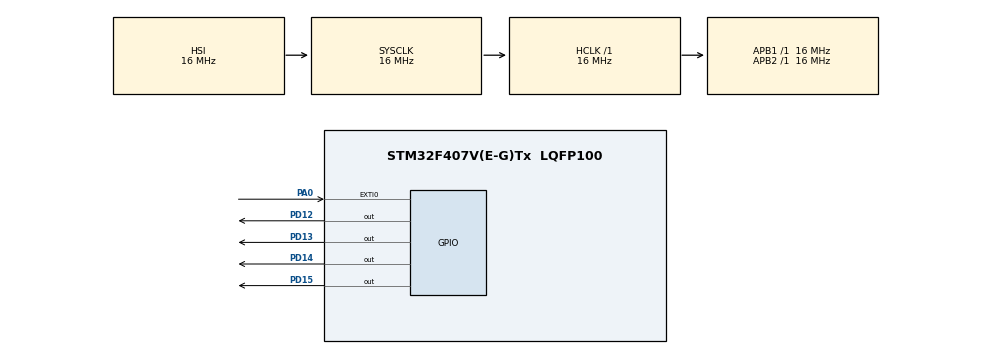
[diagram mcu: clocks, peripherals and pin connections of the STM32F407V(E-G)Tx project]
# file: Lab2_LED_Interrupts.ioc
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Mcu.Family=STM32F4
Mcu.Name=STM32F407V(E-G)Tx
Mcu.Package=LQFP100
NVIC.EXTI0_IRQn=true\:0\:0\:false\:false\:true\:true\:true\:true
NVIC.PriorityGroup=NVIC_PRIORITYGROUP_4
PA0-WKUP.Signal=GPXTI0
PA13.Mode=Serial_Wire
PA13.Signal=SYS_JTMS-SWDIO
PA14.Mode=Serial_Wire
PA14.Signal=SYS_JTCK-SWCLK
PD12.Signal=GPIO_Output
PD13.Signal=GPIO_Output
PD14.Signal=GPIO_Output
PD15.Signal=GPIO_Output
ProjectManager.HeapSize=0x200
ProjectManager.StackSize=0x400
ProjectManager.TargetToolchain=STM32CubeIDE
RCC.AHBFreq_Value=16000000
RCC.APB1Freq_Value=16000000
RCC.APB2Freq_Value=16000000
RCC.CortexFreq_Value=16000000
RCC.HSE_VALUE=25000000
RCC.HSI_VALUE=16000000
RCC.LSE_VALUE=32768
RCC.SYSCLKFreq_VALUE=16000000
RCC.VCOOutputFreq_Value=192000000
board=custom

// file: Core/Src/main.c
/* USER CODE BEGIN Header */
/**
  ******************************************************************************
  * @file           : main.c
  * @brief          : Main program body
  ******************************************************************************
  * @attention
  *
  * Copyright (c) 2026 STMicroelectronics.
  * All rights reserved.
  *
  * This software is licensed under terms that can be found in the LICENSE file
  * in the root directory of this software component.
  * If no LICENSE file comes with this software, it is provided AS-IS.
  *
  ******************************************************************************
  */
/* USER CODE END Header */
#include "main.h"

/* USER CODE BEGIN PV */
volatile uint8_t selectedMode = 0;
uint32_t lastButtonTime = 0;

#define ALL_LEDS (GPIO_PIN_12 | GPIO_PIN_13 | GPIO_PIN_14 | GPIO_PIN_15)

const uint16_t ledPatterns[4][5] = {
    {GPIO_PIN_12, GPIO_PIN_13, GPIO_PIN_14, GPIO_PIN_15, 0},
    {GPIO_PIN_12 | GPIO_PIN_14, GPIO_PIN_13 | GPIO_PIN_15, 0, 0, 0},
    {ALL_LEDS, 0, 0, 0, 0},
    {GPIO_PIN_12, GPIO_PIN_12 | GPIO_PIN_13,
     GPIO_PIN_12 | GPIO_PIN_13 | GPIO_PIN_14, ALL_LEDS, 0}
};

const uint8_t patternLengths[4] = {4, 2, 2, 5};
/* USER CODE END PV */

void SystemClock_Config(void);
static void MX_GPIO_Init(void);

/* USER CODE BEGIN 0 */
void HAL_GPIO_EXTI_Callback(uint16_t GPIO_Pin)
{
    if (GPIO_Pin == GPIO_PIN_0)
    {
        uint32_t now = HAL_GetTick();

        if ((uint32_t)(now - lastButtonTime) >= 200U)
        {
            selectedMode = (selectedMode + 1U) % 4U;
            lastButtonTime = now;
        }
    }
}

void ShowLeds(uint16_t pins)
{
    HAL_GPIO_WritePin(GPIOD, ALL_LEDS, GPIO_PIN_RESET);

    if (pins != 0)
    {
        HAL_GPIO_WritePin(GPIOD, pins, GPIO_PIN_SET);
    }
}
/* USER CODE END 0 */

int main(void)
{

  /* MCU Configuration--------------------------------------------------------*/

  /* Reset of all peripherals, Initializes the Flash interface and the Systick. */
  HAL_Init();

  /* Configure the system clock */
  SystemClock_Config();

  /* Initialize all configured peripherals */
  MX_GPIO_Init();
  /* USER CODE BEGIN 2 */
  uint8_t shownMode = 255;
  uint8_t step = 0;
  uint32_t lastChange = 0;
  /* USER CODE END 2 */

  /* Infinite loop */
  while (1)
  {

    /* USER CODE BEGIN 3 */

	  uint32_t now = HAL_GetTick();
	  uint8_t mode = selectedMode;

	  if (mode != shownMode)
	  {
	      shownMode = mode;
	      step = 0;
	      lastChange = now;

	      ShowLeds(ledPatterns[shownMode][step]);
	  }
	  else if ((uint32_t)(now - lastChange) >= 250U)
	  {
	      lastChange = now;
	      step++;

	      if (step >= patternLengths[shownMode])
	      {
	          step = 0;
	      }

	      ShowLeds(ledPatterns[shownMode][step]);
	  }
  }
  /* USER CODE END 3 */
}

void SystemClock_Config(void)
{
  RCC_OscInitTypeDef RCC_OscInitStruct = {0};
  RCC_ClkInitTypeDef RCC_ClkInitStruct = {0};

  /** Configure the main internal regulator output voltage
  */
  __HAL_RCC_PWR_CLK_ENABLE();
  __HAL_PWR_VOLTAGESCALING_CONFIG(PWR_REGULATOR_VOLTAGE_SCALE1);

  /** Initializes the RCC Oscillators according to the specified parameters
  * in the RCC_OscInitTypeDef structure.
  */
  RCC_OscInitStruct.OscillatorType = RCC_OSCILLATORTYPE_HSI;
  RCC_OscInitStruct.HSIState = RCC_HSI_ON;
  RCC_OscInitStruct.HSICalibrationValue = RCC_HSICALIBRATION_DEFAULT;
  RCC_OscInitStruct.PLL.PLLState = RCC_PLL_NONE;
  if (HAL_RCC_OscConfig(&RCC_OscInitStruct) != HAL_OK)
  {
    Error_Handler();
  }

  /** Initializes the CPU, AHB and APB buses clocks
  */
  RCC_ClkInitStruct.ClockType = RCC_CLOCKTYPE_HCLK|RCC_CLOCKTYPE_SYSCLK
                              |RCC_CLOCKTYPE_PCLK1|RCC_CLOCKTYPE_PCLK2;
  RCC_ClkInitStruct.SYSCLKSource = RCC_SYSCLKSOURCE_HSI;
  RCC_ClkInitStruct.AHBCLKDivider = RCC_SYSCLK_DIV1;
  RCC_ClkInitStruct.APB1CLKDivider = RCC_HCLK_DIV1;
  RCC_ClkInitStruct.APB2CLKDivider = RCC_HCLK_DIV1;

  if (HAL_RCC_ClockConfig(&RCC_ClkInitStruct, FLASH_LATENCY_0) != HAL_OK)
  {
    Error_Handler();
  }
}

static void MX_GPIO_Init(void)
{
  GPIO_InitTypeDef GPIO_InitStruct = {0};

  /* GPIO Ports Clock Enable */
  __HAL_RCC_GPIOA_CLK_ENABLE();
  __HAL_RCC_GPIOD_CLK_ENABLE();

  /*Configure GPIO pin Output Level */
  HAL_GPIO_WritePin(GPIOD, GPIO_PIN_12|GPIO_PIN_13|GPIO_PIN_14|GPIO_PIN_15, GPIO_PIN_RESET);

  /*Configure GPIO pin : PA0 */
  GPIO_InitStruct.Pin = GPIO_PIN_0;
  GPIO_InitStruct.Mode = GPIO_MODE_IT_RISING;
  GPIO_InitStruct.Pull = GPIO_NOPULL;
  HAL_GPIO_Init(GPIOA, &GPIO_InitStruct);

  /*Configure GPIO pins : PD12 PD13 PD14 PD15 */
  GPIO_InitStruct.Pin = GPIO_PIN_12|GPIO_PIN_13|GPIO_PIN_14|GPIO_PIN_15;
  GPIO_InitStruct.Mode = GPIO_MODE_OUTPUT_PP;
  GPIO_InitStruct.Pull = GPIO_NOPULL;
  GPIO_InitStruct.Speed = GPIO_SPEED_FREQ_LOW;
  HAL_GPIO_Init(GPIOD, &GPIO_InitStruct);

  /* EXTI interrupt init*/
  HAL_NVIC_SetPriority(EXTI0_IRQn, 0, 0);
  HAL_NVIC_EnableIRQ(EXTI0_IRQn);

}

void Error_Handler(void)
{
  __disable_irq();
  while (1)
  {
  }
}
